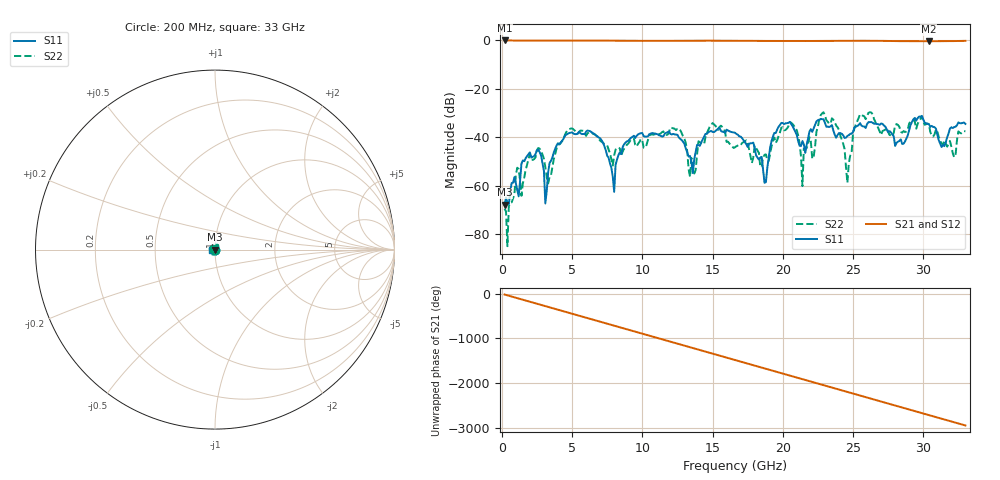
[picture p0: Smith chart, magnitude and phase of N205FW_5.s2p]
# GHZ S RI R 50
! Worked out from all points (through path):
!   329 points, 200 MHz to 33 GHz, reference 50 ohm
!   highest |S21| = -0.03 dB at 200 MHz (marker M1); lowest = -0.4 dB at 30.4 GHz (marker M2)
!   group delay of S21, straight-line fit = 248 ps
!   lowest |S11| = -67.7 dB at 200 MHz (marker M3), VSWR 1.00, Z = 50 + j0.00737 ohm
!   |S11| at or under -10 dB: start of sweep to end of sweep
!   |S22| runs from -84.8 to -29.6 dB; largest |S21 - S12| = 0.0022
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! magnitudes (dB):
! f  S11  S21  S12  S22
! 200 MHz  -67.7  0.0  0.0  -69.4
! 2.6 GHz  -45.1  -0.1  -0.1  -44.4
! 3.1 GHz  -67.2  -0.1  -0.1  -52.2
! 3.9 GHz  -43.3  -0.1  -0.1  -44.5
! 5.7 GHz  -38.6  -0.1  -0.1  -37.2
! 8 GHz  -62.4  -0.1  -0.1  -47.3
! 8.7 GHz  -42.9  -0.1  -0.1  -44.7
! 11.2 GHz  -39.1  -0.2  -0.2  -38.6
! 13.6 GHz  -54.7  -0.1  -0.1  -52.4
! 15 GHz  -37.7  -0.1  -0.1  -34.1
! 16.6 GHz  -38.1  -0.1  -0.1  -44.1
! 18.7 GHz  -58.7  -0.2  -0.2  -47.2
! 19.9 GHz  -34.0  -0.3  -0.3  -36.0
! 21 GHz  -39.0  -0.2  -0.2  -37.0
! 21.4 GHz  -41.5  -0.2  -0.2  -60.1
! 22.1 GHz  -37.7  -0.2  -0.2  -48.8
! 22.9 GHz  -32.5  -0.2  -0.2  -29.6
! 24.6 GHz  -39.4  -0.1  -0.1  -58.7
! 25.5 GHz  -34.1  -0.1  -0.1  -30.5
! 27.6 GHz  -37.4  -0.2  -0.2  -39.0
! 30.4 GHz  -34.6  -0.4  -0.4  -34.4
! 33 GHz  -34.4  -0.2  -0.2  -37.5
